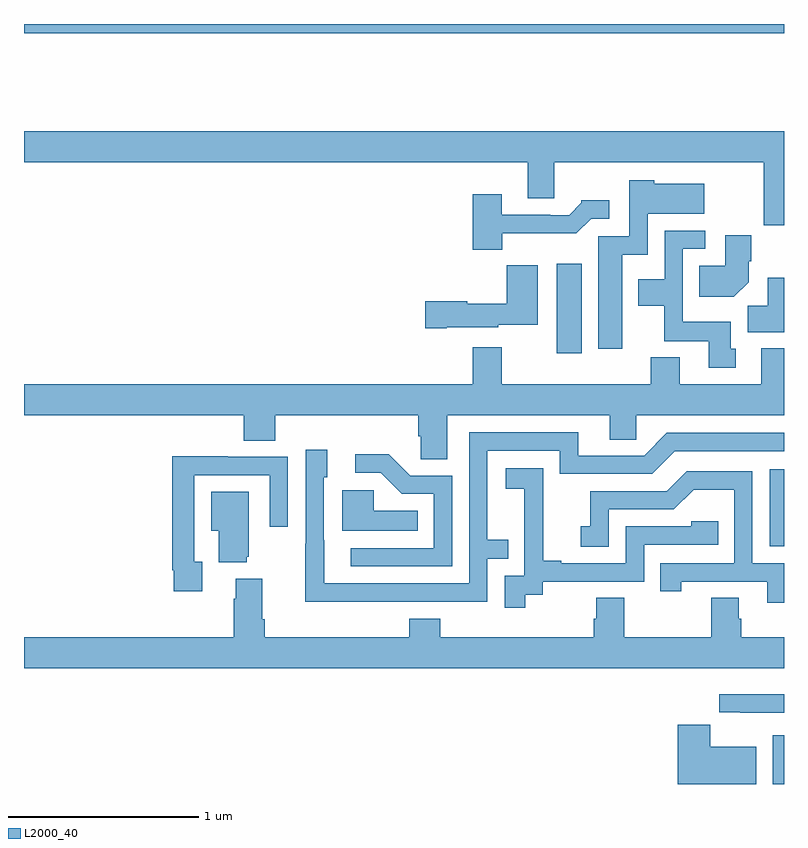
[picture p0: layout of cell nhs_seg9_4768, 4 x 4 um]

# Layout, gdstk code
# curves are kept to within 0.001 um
import gdstk
lib = gdstk.Library(unit=1e-6, precision=1e-09)
def R(c, l, rs):  # rectangles x0, y0, x1, y1
    for r in rs: c.add(gdstk.rectangle(r[:2], r[2:], *l))
def P(c, l, *ps):  # polygons
    for p in ps: c.add(gdstk.Polygon(p, *l))
L2000_40 = (2000, 40)

nhs_seg9_4768 = lib.new_cell('nhs_seg9_4768')
R(nhs_seg9_4768, L2000_40, [(390.941,1174.5,391,1174.756), (390.924,1175.751,391,1176.157), (389.804,1176.768,389.935,1177.237), (387,1178.452,391,1178.5)])
P(nhs_seg9_4768, L2000_40, [(391,1177.936),(387,1177.936),(387,1177.772),(389.651,1177.772),(389.651,1177.582),(389.791,1177.582),(389.791,1177.772),(390.894,1177.772),(390.894,1177.44),(391,1177.44)],
  [(390.148,1177.286),(390.282,1177.286),(390.282,1177.502),(390.58,1177.502),(390.58,1177.66),(390.318,1177.66),(390.318,1177.678),(390.186,1177.678),(390.186,1177.383),(390.023,1177.383),(390.023,1176.792),(390.148,1176.792)],
  [(389.518,1177.398),(389.907,1177.398),(389.985,1177.476),(390.079,1177.476),(390.079,1177.573),(389.934,1177.573),(389.934,1177.558),(389.87,1177.494),(389.771,1177.494),(389.771,1177.497),(389.515,1177.497),(389.515,1177.603),(389.363,1177.603),(389.363,1177.313),(389.518,1177.313)],
  [(390.745,1176.792),(390.721,1176.792),(390.721,1176.934),(390.468,1176.934),(390.468,1177.317),(390.586,1177.317),(390.586,1177.413),(390.372,1177.413),(390.372,1177.156),(390.233,1177.156),(390.233,1177.016),(390.37,1177.016),(390.37,1176.83),(390.605,1176.83),(390.605,1176.69),(390.745,1176.69)],
  [(390.814,1177.142),(390.814,1177.252),(390.827,1177.252),(390.827,1177.387),(390.692,1177.387),(390.692,1177.228),(390.553,1177.228),(390.553,1177.064),(390.736,1177.064)],
  [(389.224,1176.905),(389.496,1176.905),(389.496,1176.917),(389.704,1176.917),(389.704,1177.231),(389.542,1177.231),(389.542,1177.027),(389.334,1177.027),(389.334,1177.04),(389.112,1177.04),(389.112,1176.898),(389.224,1176.898)],
  [(391,1177.165),(390.914,1177.165),(390.914,1177.016),(390.809,1177.016),(390.809,1176.878),(391,1176.878)],
  [(389.227,1176.44),(390.083,1176.44),(390.083,1176.313),(390.222,1176.313),(390.222,1176.44),(391,1176.44),(391,1176.793),(390.881,1176.793),(390.881,1176.604),(390.451,1176.604),(390.451,1176.745),(390.299,1176.745),(390.299,1176.604),(389.515,1176.604),(389.515,1176.799),(389.363,1176.799),(389.363,1176.604),(387,1176.604),(387,1176.44),(388.157,1176.44),(388.157,1176.307),(388.322,1176.307),(388.322,1176.44),(389.075,1176.44),(389.075,1176.331),(389.088,1176.331),(389.088,1176.208),(389.227,1176.208)],
  [(388.943,1175.46),(389.439,1175.46),(389.439,1175.685),(389.549,1175.685),(389.549,1175.786),(389.439,1175.786),(389.439,1176.255),(389.82,1176.255),(389.82,1176.132),(390.306,1176.132),(390.426,1176.252),(391,1176.252),(391,1176.348),(390.384,1176.348),(390.264,1176.228),(389.917,1176.228),(389.917,1176.351),(389.343,1176.351),(389.343,1175.556),(388.579,1175.556),(388.578,1176.114),(388.597,1176.114),(388.597,1176.259),(388.482,1176.259),(388.482,1175.765),(388.48,1175.765),(388.48,1175.459)],
  [(389.253,1176.123),(389.034,1176.123),(388.921,1176.236),(388.743,1176.236),(388.743,1176.138),(388.877,1176.138),(388.988,1176.027),(389.157,1176.027),(389.157,1175.742),(388.719,1175.742),(388.719,1175.646),(389.253,1175.646)],
  [(387.937,1175.67),(387.897,1175.67),(387.897,1176.126),(388.293,1176.126),(388.293,1175.853),(388.389,1175.853),(388.389,1176.222),(388.073,1176.222),(388.073,1176.224),(387.781,1176.224),(387.781,1175.626),(387.789,1175.626),(387.789,1175.514),(387.937,1175.514)],
  [(389.638,1175.497),(389.73,1175.497),(389.73,1175.565),(390.264,1175.565),(390.264,1175.76),(390.653,1175.76),(390.653,1175.883),(390.513,1175.883),(390.513,1175.856),(390.168,1175.856),(390.168,1175.661),(389.827,1175.661),(389.827,1175.674),(389.732,1175.674),(389.732,1175.957),(389.733,1175.957),(389.733,1176.163),(389.535,1176.163),(389.535,1176.053),(389.633,1176.053),(389.633,1175.825),(389.634,1175.825),(389.634,1175.595),(389.529,1175.595),(389.529,1175.427),(389.638,1175.427)],
  [(391,1175.661),(390.834,1175.661),(390.834,1176.147),(390.488,1176.147),(390.383,1176.042),(389.98,1176.042),(389.98,1175.857),(389.931,1175.857),(389.931,1175.748),(390.078,1175.748),(390.078,1175.946),(390.42,1175.946),(390.524,1176.05),(390.738,1176.05),(390.738,1175.661),(390.349,1175.661),(390.349,1175.514),(390.46,1175.514),(390.46,1175.565),(390.911,1175.565),(390.911,1175.454),(391,1175.454)],
  [(389.072,1175.938),(388.842,1175.938),(388.842,1176.046),(388.676,1176.046),(388.676,1175.834),(389.072,1175.834)],
  [(388.172,1175.697),(388.183,1175.697),(388.183,1176.037),(387.986,1176.037),(387.986,1175.834),(388.025,1175.834),(388.025,1175.666),(388.172,1175.666)],
  [(391,1175.272),(390.776,1175.272),(390.776,1175.37),(390.763,1175.37),(390.763,1175.48),(390.616,1175.48),(390.616,1175.272),(390.159,1175.272),(390.159,1175.48),(390.011,1175.48),(390.011,1175.37),(389.999,1175.37),(389.999,1175.272),(389.192,1175.272),(389.192,1175.371),(389.027,1175.371),(389.027,1175.272),(388.268,1175.272),(388.268,1175.368),(388.255,1175.368),(388.255,1175.581),(388.115,1175.581),(388.115,1175.474),(388.103,1175.474),(388.103,1175.272),(387,1175.272),(387,1175.108),(391,1175.108)],
  [(391,1174.972),(390.66,1174.972),(390.66,1174.877),(390.769,1174.877),(390.769,1174.875),(391,1174.875)],
  [(390.853,1174.696),(390.613,1174.696),(390.613,1174.812),(390.44,1174.812),(390.44,1174.5),(390.853,1174.5)])

lib.write_gds('nhs_seg9_4768.gds')
